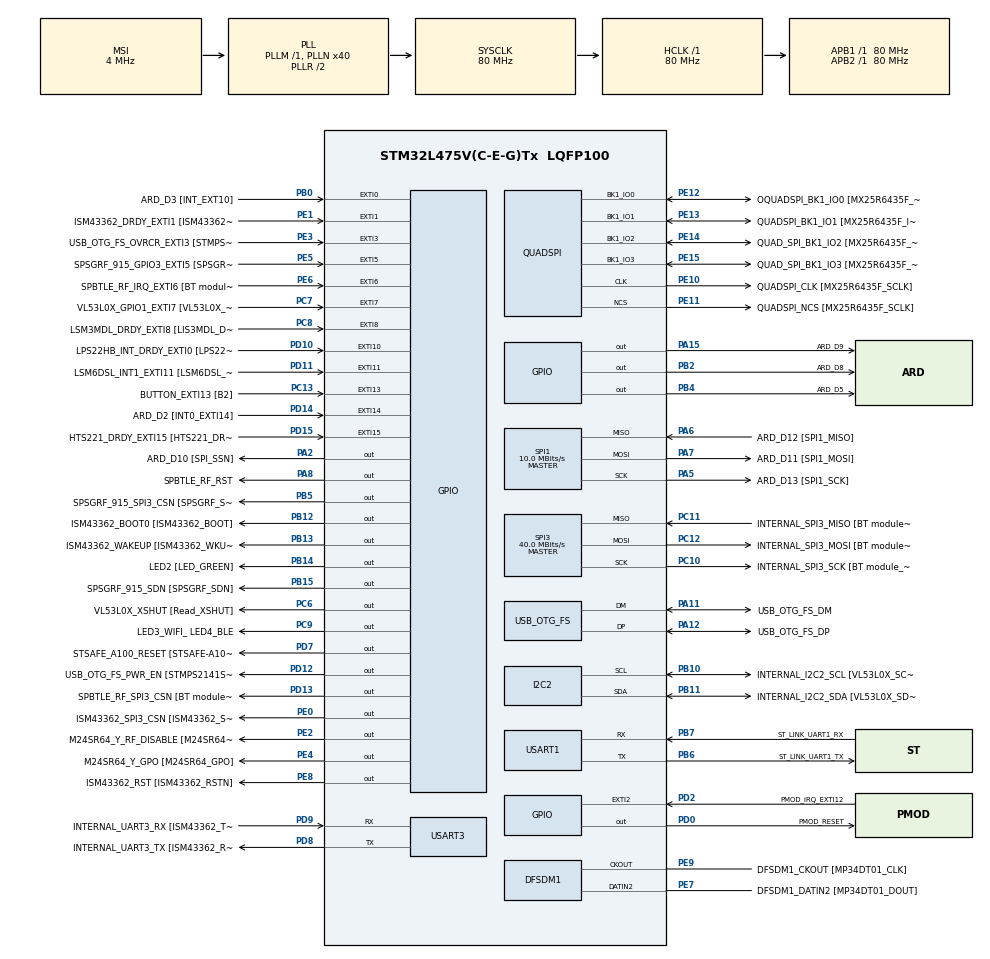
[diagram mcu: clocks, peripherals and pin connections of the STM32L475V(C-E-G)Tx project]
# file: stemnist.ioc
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Mcu.Family=STM32L4
Mcu.Name=STM32L475V(C-E-G)Tx
Mcu.Package=LQFP100
NVIC.EXTI15_10_IRQn=true\:0\:0\:false\:false\:true\:true\:true
NVIC.EXTI9_5_IRQn=true\:0\:0\:false\:false\:true\:true\:true
NVIC.PriorityGroup=NVIC_PRIORITYGROUP_4
PA0.GPIO_Label=ARD_D1 [UART4_TX]
PA0.Signal=UART4_TX
PA1.GPIO_Label=ARD_D0 [UART4_RX]
PA1.Signal=UART4_RX
PA10.GPIO_Label=USB_OTG_FS_ID
PA10.Signal=USB_OTG_FS_ID
PA11.GPIO_Label=USB_OTG_FS_DM
PA11.Mode=Device_Only
PA11.Signal=USB_OTG_FS_DM
PA12.GPIO_Label=USB_OTG_FS_DP
PA12.Mode=Device_Only
PA12.Signal=USB_OTG_FS_DP
PA13\ (JTMS-SWDIO).GPIO_Label=SYS_JTMS_SWDIO
PA13\ (JTMS-SWDIO).Mode=Serial_Wire
PA13\ (JTMS-SWDIO).Signal=SYS_JTMS-SWDIO
PA14\ (JTCK-SWCLK).GPIO_Label=SYS_JTCK_SWCLK
PA14\ (JTCK-SWCLK).Mode=Serial_Wire
PA14\ (JTCK-SWCLK).Signal=SYS_JTCK-SWCLK
PA15\ (JTDI).GPIO_Label=ARD_D9
PA15\ (JTDI).Signal=GPIO_Output
PA2.GPIO_Label=ARD_D10 [SPI_SSN]
PA2.Signal=GPIO_Output
PA3.GPIO_Label=ARD_D4
PA3.Signal=S_TIM2_CH4
PA4.GPIO_Label=ARD_D7
PA4.Signal=ADCx_IN9
PA5.GPIO_Label=ARD_D13 [SPI1_SCK]
PA5.Mode=Full_Duplex_Master
PA5.Signal=SPI1_SCK
PA6.GPIO_Label=ARD_D12 [SPI1_MISO]
PA6.Mode=Full_Duplex_Master
PA6.Signal=SPI1_MISO
PA7.GPIO_Label=ARD_D11 [SPI1_MOSI]
PA7.Mode=Full_Duplex_Master
PA7.Signal=SPI1_MOSI
PA8.GPIO_Label=SPBTLE_RF_RST
PA8.Signal=GPIO_Output
PA9.GPIO_Label=USB_OTG_FS_VBUS [STMPS2141STR_OUT]
PA9.Signal=USB_OTG_FS_VBUS
PB0.GPIO_Label=ARD_D3 [INT_EXT10]
PB0.Signal=GPXTI0
PB1.GPIO_Label=ARD_D6 [ADC1_IN6]
PB1.Signal=ADCx_IN16
PB10.GPIO_Label=INTERNAL_I2C2_SCL [VL53L0X_SCL]
PB10.Mode=I2C
PB10.Signal=I2C2_SCL
PB11.GPIO_Label=INTERNAL_I2C2_SDA [VL53L0X_SDA]
PB11.Mode=I2C
PB11.Signal=I2C2_SDA
PB12.GPIO_Label=ISM43362_BOOT0 [ISM43362_BOOT]
PB12.Signal=GPIO_Output
PB13.GPIO_Label=ISM43362_WAKEUP [ISM43362_WKUP]
PB13.Signal=GPIO_Output
PB14.GPIO_Label=LED2 [LED_GREEN]
PB14.Signal=GPIO_Output
PB15.GPIO_Label=SPSGRF_915_SDN [SPSGRF_SDN]
PB15.Signal=GPIO_Output
PB2.GPIO_Label=ARD_D8
PB2.Signal=GPIO_Output
PB3\ (JTDO-TRACESWO).GPIO_Label=SYS_JTD0_SWO
PB3\ (JTDO-TRACESWO).Signal=SYS_JTDO-SWO
PB4\ (NJTRST).GPIO_Label=ARD_D5
PB4\ (NJTRST).Signal=GPIO_Output
PB5.GPIO_Label=SPSGRF_915_SPI3_CSN [SPSGRF_SPI_CS]
PB5.PinState=GPIO_PIN_SET
PB5.Signal=GPIO_Output
PB6.GPIO_Label=ST_LINK_UART1_TX
PB6.Mode=Asynchronous
PB6.Signal=USART1_TX
PB7.GPIO_Label=ST_LINK_UART1_RX
PB7.Mode=Asynchronous
PB7.Signal=USART1_RX
PB8.GPIO_Label=ARD_D15 [I2C1_SCL]
PB8.Signal=I2C1_SCL
PB9.GPIO_Label=ARD_D14 [I2C1_SDA]
PB9.Signal=I2C1_SDA
PC0.GPIO_Label=ARD_A5 [ADC]
PC0.Signal=ADCx_IN1
PC1.GPIO_Label=ARD_A4 [ADC]
PC1.Signal=ADCx_IN2
PC10.GPIO_Label=INTERNAL_SPI3_SCK [BT module_SPI_SCLK]
PC10.Mode=Full_Duplex_Master
PC10.Signal=SPI3_SCK
PC11.GPIO_Label=INTERNAL_SPI3_MISO [BT module_SPI_MISO]
PC11.Mode=Full_Duplex_Master
PC11.Signal=SPI3_MISO
PC12.GPIO_Label=INTERNAL_SPI3_MOSI [BT module_SPI_MOSI]
PC12.Mode=Full_Duplex_Master
PC12.Signal=SPI3_MOSI
PC13.GPIO_Label=BUTTON_EXTI13 [B2]
PC13.GPIO_ModeDefaultEXTI=GPIO_MODE_IT_FALLING
PC13.Signal=GPXTI13
PC14-OSC32_IN\ (PC14).Mode=LSE-External-Oscillator
PC14-OSC32_IN\ (PC14).Signal=RCC_OSC32_IN
PC15-OSC32_OUT\ (PC15).Mode=LSE-External-Oscillator
PC15-OSC32_OUT\ (PC15).Signal=RCC_OSC32_OUT
PC2.GPIO_Label=ARD_A3 [ADC]
PC2.Signal=ADCx_IN3
PC3.GPIO_Label=ARD_A2 [ADC]
PC3.Signal=ADCx_IN4
PC4.GPIO_Label=ARD_A1 [ADC]
PC4.Signal=ADCx_IN13
PC5.GPIO_Label=ARD_A0 [ADC]
PC5.Signal=ADCx_IN14
PC6.GPIO_Label=VL53L0X_XSHUT [Read_XSHUT]
PC6.Signal=GPIO_Output
PC7.GPIO_Label=VL53L0X_GPIO1_EXTI7 [VL53L0X_GPIO1]
PC7.Signal=GPXTI7
PC8.GPIO_Label=LSM3MDL_DRDY_EXTI8 [LIS3MDL_DRDY]
PC8.Signal=GPXTI8
PC9.GPIO_Label=LED3_WIFI_ LED4_BLE
PC9.Signal=GPIO_Output
PD0.GPIO_Label=PMOD_RESET
PD0.Signal=GPIO_Output
PD1.GPIO_Label=PMOD_SPI2_SCK
PD1.Signal=SPI2_SCK
PD10.GPIO_Label=LPS22HB_INT_DRDY_EXTI0 [LPS22HB_INT_DRDY] 
PD10.Signal=GPXTI10
PD11.GPIO_Label=LSM6DSL_INT1_EXTI11 [LSM6DSL_INT1]
PD11.Signal=GPXTI11
PD12.GPIO_Label=USB_OTG_FS_PWR_EN [STMPS2141STR_EN]
PD12.Signal=GPIO_Output
PD13.GPIO_Label=SPBTLE_RF_SPI3_CSN [BT module_SPI_CS]
PD13.PinState=GPIO_PIN_SET
PD13.Signal=GPIO_Output
PD14.GPIO_Label=ARD_D2 [INT0_EXTI14]
PD14.Signal=GPXTI14
PD15.GPIO_Label=HTS221_DRDY_EXTI15 [HTS221_DRDY]
PD15.Signal=GPXTI15
PD2.GPIO_Label=PMOD_IRQ_EXTI12
PD2.Signal=GPXTI2
PD3.GPIO_Label=PMOD_UART2_CTS
PD3.Signal=USART2_CTS
PD4.GPIO_Label=PMOD_UART2_RTS
PD4.Signal=USART2_RTS
PD5.GPIO_Label=PMOD_UART2_TX
PD5.Signal=USART2_TX
PD6.GPIO_Label=PMOD_UART2_RX
PD6.Signal=USART2_RX
PD7.GPIO_Label=STSAFE_A100_RESET [STSAFE-A100_RESET]
PD7.Signal=GPIO_Output
PD8.GPIO_Label=INTERNAL_UART3_TX [ISM43362_RX]
PD8.Mode=Asynchronous
PD8.Signal=USART3_TX
PD9.GPIO_Label=INTERNAL_UART3_RX [ISM43362_TX]
PD9.Mode=Asynchronous
PD9.Signal=USART3_RX
PE0.GPIO_Label=ISM43362_SPI3_CSN [ISM43362_SSN]
PE0.PinState=GPIO_PIN_SET
PE0.Signal=GPIO_Output
PE1.GPIO_Label=ISM43362_DRDY_EXTI1 [ISM43362_DATARDY]
PE1.Signal=GPXTI1
PE10.GPIO_Label=QUADSPI_CLK [MX25R6435F_SCLK]
PE10.Mode=Single Bank
PE10.Signal=QUADSPI_CLK
PE11.GPIO_Label=QUADSPI_NCS [MX25R6435F_SCLK]
PE11.Mode=Single Bank
PE11.Signal=QUADSPI_NCS
PE12.GPIO_Label=OQUADSPI_BK1_IO0 [MX25R6435F_IO0]
PE12.Mode=Single Bank
PE12.Signal=QUADSPI_BK1_IO0
PE13.GPIO_Label=QUADSPI_BK1_IO1 [MX25R6435F_IO1]
PE13.Mode=Single Bank
PE13.Signal=QUADSPI_BK1_IO1
PE14.GPIO_Label=QUAD_SPI_BK1_IO2 [MX25R6435F_IO2]
PE14.Mode=Single Bank
PE14.Signal=QUADSPI_BK1_IO2
PE15.GPIO_Label=QUAD_SPI_BK1_IO3 [MX25R6435F_IO3]
PE15.Mode=Single Bank
PE15.Signal=QUADSPI_BK1_IO3
PE2.GPIO_Label=M24SR64_Y_RF_DISABLE [M24SR64_RFDIS]
PE2.Signal=GPIO_Output
PE3.GPIO_Label=USB_OTG_FS_OVRCR_EXTI3 [STMPS2141STR_FAULT]
PE3.Signal=GPXTI3
PE4.GPIO_Label=M24SR64_Y_GPO [M24SR64_GPO]
PE4.Signal=GPIO_Output
PE5.GPIO_Label=SPSGRF_915_GPIO3_EXTI5 [SPSGRF_GPIO_3]
PE5.Signal=GPXTI5
PE6.GPIO_Label=SPBTLE_RF_IRQ_EXTI6 [BT module_SPI_IRQ]
PE6.Signal=GPXTI6
PE7.GPIO_Label=DFSDM1_DATIN2 [MP34DT01_DOUT]
PE7.Signal=S_DATAIN2DFSDM1
PE8.GPIO_Label=ISM43362_RST [ISM43362_RSTN]
PE8.Signal=GPIO_Output
PE9.GPIO_Label=DFSDM1_CKOUT [MP34DT01_CLK]
PE9.Signal=S_CKOUTDFSDM1
ProjectManager.HeapSize=0x200
ProjectManager.StackSize=0x400
ProjectManager.TargetToolchain=Makefile
RCC.ADCFreq_Value=48000000
RCC.AHBFreq_Value=80000000
RCC.APB1Freq_Value=80000000
RCC.APB1TimFreq_Value=80000000
RCC.APB2Freq_Value=80000000
RCC.APB2TimFreq_Value=80000000
RCC.CortexFreq_Value=80000000
RCC.HCLKFreq_Value=80000000
RCC.HSE_VALUE=8000000
RCC.HSI_VALUE=16000000
RCC.MSI_VALUE=4000000
RCC.PLLN=40
RCC.PLLSAI1N=24
RCC.SYSCLKFreq_VALUE=80000000
RCC.SYSCLKSource=RCC_SYSCLKSOURCE_PLLCLK
RCC.USBFreq_Value=48000000
RCC.VCOOutputFreq_Value=160000000
SH.ADCx_IN1.0=ADC1_IN1
SH.ADCx_IN13.0=ADC1_IN13
SH.ADCx_IN14.0=ADC1_IN14
SH.ADCx_IN16.0=ADC1_IN16
SH.ADCx_IN2.0=ADC1_IN2
SH.ADCx_IN3.0=ADC1_IN3
SH.ADCx_IN4.0=ADC1_IN4
SH.ADCx_IN9.0=ADC1_IN9
SH.S_CKOUTDFSDM1.0=DFSDM1_CKOUT,CKOUT
SH.S_CKOUTDFSDM1.1=DFSDM1_CKOUT,PDM_SPI_Input_from_ch12_and_Internal_Clock
SH.S_DATAIN2DFSDM1.0=DFSDM1_DATIN2,PDM_SPI_Input_from_ch12_and_Internal_Clock
SH.S_TIM2_CH4.0=TIM2_CH4
SPI1.BaudRatePrescaler=SPI_BAUDRATEPRESCALER_8
SPI1.CalculateBaudRate=10.0 MBits/s
SPI1.DataSize=SPI_DATASIZE_8BIT
SPI1.Direction=SPI_DIRECTION_2LINES
SPI1.Mode=SPI_MODE_MASTER
SPI1.NSSPMode=SPI_NSS_PULSE_DISABLE
SPI1.VirtualType=VM_MASTER
SPI3.CalculateBaudRate=40.0 MBits/s
SPI3.Direction=SPI_DIRECTION_2LINES
SPI3.Mode=SPI_MODE_MASTER
SPI3.VirtualType=VM_MASTER
STMicroelectronics.X-CUBE-AI.3.4.0.ApplicationCcArtificialOoIntelligenceJjApplication=SystemPerformance
STMicroelectronics.X-CUBE-AI.3.4.0.ArtificialOoIntelligenceJjApplication.cmp_version0=3.4.0
STMicroelectronics.X-CUBE-AI.3.4.0.ArtificialOoIntelligenceJjApplication.component0=Artificial Intelligence
STMicroelectronics.X-CUBE-AI.3.4.0.ArtificialOoIntelligenceJjApplication.description0=AI Application,System Performance
STMicroelectronics.X-CUBE-AI.3.4.0.ArtificialOoIntelligenceJjApplication.diagnostic0=This component should operate correctly.
STMicroelectronics.X-CUBE-AI.3.4.0.ArtificialOoIntelligenceJjApplication.documentation0=readme.txt
STMicroelectronics.X-CUBE-AI.3.4.0.ArtificialOoIntelligenceJjApplication.group0=Application
STMicroelectronics.X-CUBE-AI.3.4.0.ArtificialOoIntelligenceJjApplication.paramName0=ApplicationCcArtificialOoIntelligenceJjApplication
STMicroelectronics.X-CUBE-AI.3.4.0.ArtificialOoIntelligenceJjApplication.sevirity0=none
STMicroelectronics.X-CUBE-AI.3.4.0.ArtificialOoIntelligenceJjApplication.variant0=SystemPerformance
STMicroelectronics.X-CUBE-AI.3.4.0.ArtificialOoIntelligenceJjApplication_bundle=Application
STMicroelectronics.X-CUBE-AI.3.4.0.ArtificialOoIntelligenceJjApplication_class=ArtificialOoIntelligence
STMicroelectronics.X-CUBE-AI.3.4.0.ArtificialOoIntelligenceJjApplication_name=X-CUBE-AI
STMicroelectronics.X-CUBE-AI.3.4.0.ArtificialOoIntelligenceJjApplication_size=1
STMicroelectronics.X-CUBE-AI.3.4.0.ArtificialOoIntelligenceJjApplication_vendor=STMicroelectronics
STMicroelectronics.X-CUBE-AI.3.4.0.ArtificialOoIntelligenceJjApplication_version=3.4.0
STMicroelectronics.X-CUBE-AI.3.4.0.ArtificialOoIntelligenceJjXAaCUBEAaAI.cmp_version0=3.4.0
STMicroelectronics.X-CUBE-AI.3.4.0.ArtificialOoIntelligenceJjXAaCUBEAaAI.component0=Artificial Intelligence
STMicroelectronics.X-CUBE-AI.3.4.0.ArtificialOoIntelligenceJjXAaCUBEAaAI.description0=AI Core,Artificial Intelligence for STM32
STMicroelectronics.X-CUBE-AI.3.4.0.ArtificialOoIntelligenceJjXAaCUBEAaAI.diagnostic0=This component should operate correctly.
STMicroelectronics.X-CUBE-AI.3.4.0.ArtificialOoIntelligenceJjXAaCUBEAaAI.documentation0=readme.txt
STMicroelectronics.X-CUBE-AI.3.4.0.ArtificialOoIntelligenceJjXAaCUBEAaAI.group0=Core
STMicroelectronics.X-CUBE-AI.3.4.0.ArtificialOoIntelligenceJjXAaCUBEAaAI.paramName0=XAaCUBEAaAICcArtificialOoIntelligenceJjCore
STMicroelectronics.X-CUBE-AI.3.4.0.ArtificialOoIntelligenceJjXAaCUBEAaAI.sevirity0=none
STMicroelectronics.X-CUBE-AI.3.4.0.ArtificialOoIntelligenceJjXAaCUBEAaAI_bundle=X-CUBE-AI
STMicroelectronics.X-CUBE-AI.3.4.0.ArtificialOoIntelligenceJjXAaCUBEAaAI_class=ArtificialOoIntelligence
STMicroelectronics.X-CUBE-AI.3.4.0.ArtificialOoIntelligenceJjXAaCUBEAaAI_name=X-CUBE-AI
STMicroelectronics.X-CUBE-AI.3.4.0.ArtificialOoIntelligenceJjXAaCUBEAaAI_size=1
STMicroelectronics.X-CUBE-AI.3.4.0.ArtificialOoIntelligenceJjXAaCUBEAaAI_vendor=STMicroelectronics
STMicroelectronics.X-CUBE-AI.3.4.0.ArtificialOoIntelligenceJjXAaCUBEAaAI_version=3.4.0
STMicroelectronics.X-CUBE-AI.3.4.0.ModelActualCompression-6ac971eb13c70106b16ec87ce49207d909afea712f463043403984c6bca58bb8=7.89
STMicroelectronics.X-CUBE-AI.3.4.0.ModelCompression-6ac971eb13c70106b16ec87ce49207d909afea712f463043403984c6bca58bb8=8
STMicroelectronics.X-CUBE-AI.3.4.0.ModelFlashOccupation-6ac971eb13c70106b16ec87ce49207d909afea712f463043403984c6bca58bb8=52750
STMicroelectronics.X-CUBE-AI.3.4.0.ModelHashList=6ac971eb13c70106b16ec87ce49207d909afea712f463043403984c6bca58bb8
STMicroelectronics.X-CUBE-AI.3.4.0.ModelKind-6ac971eb13c70106b16ec87ce49207d909afea712f463043403984c6bca58bb8=KERAS
STMicroelectronics.X-CUBE-AI.3.4.0.ModelMacc-6ac971eb13c70106b16ec87ce49207d909afea712f463043403984c6bca58bb8=107201
STMicroelectronics.X-CUBE-AI.3.4.0.ModelName-6ac971eb13c70106b16ec87ce49207d909afea712f463043403984c6bca58bb8=network
STMicroelectronics.X-CUBE-AI.3.4.0.ModelNameList=network
STMicroelectronics.X-CUBE-AI.3.4.0.ModelRamOccupation-6ac971eb13c70106b16ec87ce49207d909afea712f463043403984c6bca58bb8=3569
STMicroelectronics.X-CUBE-AI.3.4.0.ModelStructureFile-6ac971eb13c70106b16ec87ce49207d909afea712f463043403984c6bca58bb8=models2/bin/modelfc128.h5
STMicroelectronics.X-CUBE-AI.3.4.0.ModelType-6ac971eb13c70106b16ec87ce49207d909afea712f463043403984c6bca58bb8=Model and Topology
STMicroelectronics.X-CUBE-AI.3.4.0.ModelWeightFile-6ac971eb13c70106b16ec87ce49207d909afea712f463043403984c6bca58bb8=models2/bin/modelfc128.yaml
STMicroelectronics.X-CUBE-AI.3.4.0.XAaCUBEAaAICcArtificialOoIntelligenceJjCore=true
STMicroelectronics.X-CUBE-AI.3.4.0_ArtificialOoIntelligenceJjApplication_RteComponent0=\#define AI_SYSTEM_PERFORMANCE
STMicroelectronics.X-CUBE-AI.3.4.0_ArtificialOoIntelligenceJjApplication_RteComponentsize=1
STMicroelectronics.X-CUBE-AI.3.4.0_ArtificialOoIntelligenceJjXAaCUBEAaAI_RteComponentsize=0
STMicroelectronics.X-CUBE-AI.3.4.0_MwName0=X-CUBE-AI
STMicroelectronics.X-CUBE-AI.3.4.0_MwName1=Application
STMicroelectronics.X-CUBE-AI.3.4.0_NumberOfMw=2
STMicroelectronics.X-CUBE-AI.3.4.0_description=Artificial Intelligence
STMicroelectronics.X-CUBE-AI.3.4.0_license=SLA0048.txt
STMicroelectronics.X-CUBE-AI.3.4.0_supportedCore=Cortex-M4;Cortex-M7;
USART1.VirtualMode-Asynchronous=VM_ASYNC
USART3.VirtualMode-Asynchronous=VM_ASYNC
USB_OTG_FS.VirtualMode=Device_Only
VP_CRC_VS_CRC.Mode=CRC_Activate
VP_STMicroelectronics.X-CUBE-AI_VS_ArtificialOoIntelligenceJjXAaCUBEAaAI_3.4.0.Mode=ArtificialOoIntelligenceJjXAaCUBEAaAI
board=B-L475E-IOT01A

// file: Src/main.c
/* USER CODE BEGIN Header */
  int cnt=10;
/**
  ******************************************************************************
  * @file           : main.c
  * @brief          : Main program body
  ******************************************************************************
  * @attention
  *
  * <h2><center>&copy; Copyright (c) 2019 STMicroelectronics.
  * All rights reserved.</center></h2>
  *
  * This software component is licensed by ST under BSD 3-Clause license,
  * the "License"; You may not use this file except in compliance with the
  * License. You may obtain a copy of the License at:
  *                        opensource.org/licenses/BSD-3-Clause
  *
  ******************************************************************************
  */
/* USER CODE END Header */

#include "main.h"
#include "app_x-cube-ai.h"

/* USER CODE BEGIN Includes */
#include <stdio.h>
#include <stdlib.h>
#include <errno.h>
#include "Adafruit/Adafruit_ILI9341.h"
#include "data/testimgs512.h"
#include "data/testlabels512.h"
#include "data/mapping.h"
#include "arm_math.h" // for sqrt32

/* USER CODE END Includes */

/* USER CODE BEGIN PD */
#define AI_BUFFER_NULL(ptr_)  \
 AI_BUFFER_OBJ_INIT( \
   AI_BUFFER_FORMAT_NONE|AI_BUFFER_FMT_FLAG_CONST, \
   0, 0, 0, 0, \
   AI_HANDLE_PTR(ptr_))
/* USER CODE END PD */

CRC_HandleTypeDef hcrc;

DFSDM_Channel_HandleTypeDef hdfsdm1_channel1;

I2C_HandleTypeDef hi2c2;

QSPI_HandleTypeDef hqspi;

SPI_HandleTypeDef hspi1;
SPI_HandleTypeDef hspi3;

UART_HandleTypeDef huart1;
UART_HandleTypeDef huart3;

PCD_HandleTypeDef hpcd_USB_OTG_FS;

/* USER CODE BEGIN PV */
static ai_u8 activations[AI_NETWORK_DATA_ACTIVATIONS_SIZE];
ai_float in_data[AI_NETWORK_IN_1_SIZE];
float out_data[AI_NETWORK_OUT_1_SIZE];
/*static ai_buffer net_in[AI_TESTNN_IN_NUM]  = {AI_MNETWORK_IN_1};*/
/*static ai_buffer net_out[AI_TESTNN_OUT_NUM] = {AI_MNETWORK_OUT_1};*/
/* USER CODE END PV */

void SystemClock_Config(void);
static void MX_GPIO_Init(void);
static void MX_DFSDM1_Init(void);
static void MX_I2C2_Init(void);
static void MX_QUADSPI_Init(void);
static void MX_SPI3_Init(void);
static void MX_USART1_UART_Init(void);
static void MX_USART3_UART_Init(void);
static void MX_USB_OTG_FS_PCD_Init(void);
static void MX_SPI1_Init(void);
static void MX_CRC_Init(void);

/* USER CODE BEGIN 0 */
// Dead simple put string method. Nik Bamert
void putstr(char* s){
  while(*s != 0x00){
    while (HAL_OK != HAL_UART_Transmit(&huart1, (uint8_t*)s, 1, 30000));
    s++;
  }
}
void putcharr(uint8_t c){
    while (HAL_OK != HAL_UART_Transmit(&huart1, &c, 1, 30000));
}
int _write(int fd, char *ptr, int len){
  while(len--){
    while (HAL_OK != HAL_UART_Transmit(&huart1, (uint8_t*)ptr, 1, 30000));
    ptr++;
  }
  return len;
}
void putint(uint16_t v){
  char str[16];
  sprintf(str,"%u",v);
  putstr(str);
}
void putfloat(float v){
  char str[32];
  sprintf(str,"%.3f",v);
  putstr(str);
}
void printTestTest(int idx){
  if(idx>511) return;
  int baseOffset=16+idx*28*28;
  for(int x=0;x<28;x++){
    for(int y=0;y<28;y++){
      unsigned char px =  testimgs512[baseOffset+y*28+x];
      uint16_t col = ILI9341_color565(px,px,px);
      ILI9341_drawPixel(100+28-x,100+y,col);
    }
  }
}
void printImgX2(int idx){
  if(idx>511) return;
  int baseOffset=16+idx*28*28;
  for(int x=0;x<28;x++){
    for(int y=0;y<28;y++){
      unsigned char px =  testimgs512[baseOffset+y*28+x];
      uint16_t col = ILI9341_color565(px,px,px);
      ILI9341_drawPixel(100+56-x*2,100+y*2,col);
      ILI9341_drawPixel(100+56-x*2-1,100+y*2,col);
      ILI9341_drawPixel(100+56-x*2,100+y*2+1,col);
      ILI9341_drawPixel(100+56-x*2-1,100+y*2+1,col);
    }
  }
}
void printLabel(int x, int y, int idx){
  unsigned char label =  classmapping[testlabels512[idx+8]];
  ILI9341_putchar(x, y, label);
}
void printPrediction(int x, int y, int idx){
  unsigned char label =  classmapping[idx];
  ILI9341_putchar(x, y, label);
}
// The following wrappers to call and execute a given network
// where taken from https://github.com/meerstern/STM32F7-DISCO-AI_XOR
/*static struct ai_network_exec_ctx {
   ai_handle network;
   ai_network_report report;
} net_exec_ctx[AI_MNETWORK_NUMBER] = {0};
static int aiBootstrap(const char *nn_name, const int idx)
{
    ai_error err;

    // Creating the network
    printf("Creating the network \"%s\"..\r\n", nn_name);
    err = ai_mnetwork_create(nn_name, &net_exec_ctx[idx].network, NULL);
    if (err.type) {

        printf("ERR:ai_mnetwork_create, %d %d\n\r",err.type,err.code);
        return -1;
    }

    // Query the created network to get relevant info from it
    if (ai_mnetwork_get_info(net_exec_ctx[idx].network, &net_exec_ctx[idx].report)){

    }
    else{
        err = ai_mnetwork_get_error(net_exec_ctx[idx].network);

        printf("ERR:ai_mnetwork_get_info, %d %d \n\r",err.type,err.code);
        ai_mnetwork_destroy(net_exec_ctx[idx].network);
        net_exec_ctx[idx].network = AI_HANDLE_NULL;
        return -2;
    }

    // Initialize the instance
    printf("Initializing the network\r\n");
    // build params structure to provide the reference of the
    //  activation and weight buffers
    const ai_network_params params = {
            AI_BUFFER_NULL(NULL),
            AI_BUFFER_NULL(activations) };

    if (!ai_mnetwork_init(net_exec_ctx[idx].network, &params)) {
        err = ai_mnetwork_get_error(net_exec_ctx[idx].network);

        printf("ERR:ai_mnetwork_init, %d %d\n\r",err.type,err.code);
        ai_mnetwork_destroy(net_exec_ctx[idx].network);
        net_exec_ctx[idx].network = AI_HANDLE_NULL;
        return -4;
    }
    return 0;
}
int aiInit(void)
{
    int res = -1;
    const char *nn_name;
    int idx;

    // Clean all network exec context
   for (idx=0; idx < AI_MNETWORK_NUMBER; idx++) {
        net_exec_ctx[idx].network = AI_HANDLE_NULL;
    }

    // Discover and init the embedded network
	idx = 0;
	do {
		nn_name = ai_mnetwork_find(NULL, idx);
		if (nn_name) {
			printf("\r\nFound network \"%s\"\r\n", nn_name);
			res = aiBootstrap(nn_name, idx);
			if (res)
				nn_name = NULL;
		}
		idx++;
	} while (nn_name);

    return 0;
}
void aiDeinit(void)
{
	ai_error err;
	int idx;

	printf("Releasing the network(s)...\r\n");

	for (idx=0; idx<AI_MNETWORK_NUMBER; idx++) {
		if (net_exec_ctx[idx].network != AI_HANDLE_NULL) {
			if (ai_mnetwork_destroy(net_exec_ctx[idx].network)
					!= AI_HANDLE_NULL) {
				err = ai_mnetwork_get_error(net_exec_ctx[idx].network);
				printf("ERR:ai_mnetwork_destroy, %d %d\n\r",err.type,err.code);
			}
			net_exec_ctx[idx].network = AI_HANDLE_NULL;
		}
	}
}
int aiRun(const int idx, const ai_float *in_data, ai_float *out_data)
{
    ai_i32 nbatch;
    ai_error err;

    // AI buffer handlers
    ai_buffer ai_input[AI_MNETWORK_IN_1_SIZE] ;
    ai_buffer ai_output[AI_MNETWORK_OUT_1_SIZE];

    // Parameters checking
    if (!in_data || !out_data || !net_exec_ctx[idx].network)
        return -1;

    // Initialize input/output buffer handlers
    ai_input[0].n_batches = 1;
    ai_input[0].data = AI_HANDLE_PTR(in_data);
    ai_output[0].n_batches = 1;
    ai_output[0].data = AI_HANDLE_PTR(out_data);

    // Perform the inference
    nbatch = ai_mnetwork_run(net_exec_ctx[idx].network, &ai_input[0], &ai_output[0]);

    if (nbatch != 1) {
        err = ai_mnetwork_get_error(net_exec_ctx[idx].network);
        printf("ERR:ai_mnetwork_get_error, %d %d\n\r",err.type,err.code);
        return -1;
    }

    return 0;
}
int aiInference(int imgIdx){

    aiInit();
    in_data[0]=1.0;
    in_data[1]=0.0;

    // Convert input into float
    int baseOffset=16+imgIdx*28*28;
    for(int i=0;i<28*28;i++){
      in_data[i] = 1.-((ai_float)testimgs512[baseOffset+i])/255.;
    }

    aiRun(0,in_data, out_data);
    ai_float max=0.;
    int idx=0;
    // find maximum output
    for(int i=0;i<47;i++){
     if(out_data[i] > max){
       idx=i;
       max = out_data[i];
     }
    }
    aiDeinit();
    putstr("Max index:");
    putint(idx);
    return idx;
}
*/
uint8_t VectorMaximum(ai_float* vector){
  ai_float max=-100.;
  uint8_t idx=0;

  // find maximum output
  for(int i=0;i<47;i++){
   if(vector[i] > max){
     idx=i;
     max = vector[i];
   }
  }
  return idx;
}
// Taken from exercise 3
void NormalizeVector(uint16_t vectorSize, float* vector){
	float sumtotal = 0.0f;

	for(int i=0;i<vectorSize;i++){
		vector[i] = vector[i]/255.;
	}
}
void fliplr(uint8_t* in, uint8_t* out){
  for (int sRow = 0; sRow < 28 ; sRow++) {
    for (int sCol = 0; sCol < 28; sCol++) {
      uint8_t temp = in[sRow*28+sCol];
      int tRow=sRow;
      int tCol=28-sCol;
      out[tRow*28+tCol]=temp;
    }
  }
}
void rotateImg90(uint8_t* in, uint8_t* out) {
  // Consider all squares one by one
  for (int sRow = 0; sRow < 28 ; sRow++) {
    for (int sCol = 0; sCol < 28; sCol++) {
      uint8_t temp = in[sRow*28+sCol];
      int tCol=sRow;
      int tRow=28-sCol;//rot 90 degrees CCW
      out[tRow*28+tCol]=temp;
    }
  }
}
void transposeImg(uint8_t* in, uint8_t* out){
  for (int sRow = 0; sRow < 28 ; sRow++) {
    for (int sCol = 0; sCol < 28; sCol++) {
      uint8_t temp = in[sRow*28+sCol];
      out[sCol*28+sRow]=temp;
    }
  }

}

/* USER CODE END 0 */

int main(void)
{

  /* MCU Configuration--------------------------------------------------------*/

  /* Reset of all peripherals, Initializes the Flash interface and the Systick. */
  HAL_Init();

  /* Configure the system clock */
  SystemClock_Config();

  /* Initialize all configured peripherals */
  MX_GPIO_Init();
  MX_DFSDM1_Init();
  MX_I2C2_Init();
  MX_QUADSPI_Init();
  MX_SPI3_Init();
  MX_USART1_UART_Init();
  MX_USART3_UART_Init();
  MX_USB_OTG_FS_PCD_Init();
  MX_SPI1_Init();
  MX_CRC_Init();
  MX_X_CUBE_AI_Init();
  /* USER CODE BEGIN 2 */
  ai_handle network_handle;
  const char *nn_name;
  const ai_network_params params = {
            AI_NETWORK_DATA_WEIGHTS(ai_network_data_weights_get()),
            AI_NETWORK_DATA_ACTIVATIONS(activations) };

  ai_mnetwork_create("network", &network_handle, NULL);
	ai_mnetwork_init(network_handle, &params);

  // We do we need to do this?
  // Imho just to turn off the LED before anything is said. not important
	/*net_out[0].data = g_ai_output;*/

  HAL_GPIO_WritePin(GPIOA, GPIO_PIN_2, GPIO_PIN_SET);//disable touchscreen chip
  HAL_GPIO_WritePin(GPIOA, GPIO_PIN_3, GPIO_PIN_SET);//disable sd card
  HAL_GPIO_WritePin(GPIOB, GPIO_PIN_2, GPIO_PIN_SET);//disable lcd
  HAL_GPIO_WritePin(GPIOA, GPIO_PIN_8, GPIO_PIN_RESET);//disable BLE module (could cause interference on touchscreen)
  ILI9341_Init();
  ILI9341_fillRect(0,0,240,320, ILI9341_color565(255,255,255));
  ILI9341_putstr(50,10, "Model: fc128");
  ILI9341_putstr(50,130, "Label");
  ILI9341_putstr(30,130, "Pred.");
  ILI9341_putstr(50,210, "Corr.");
  ILI9341_putstr(30,210, "Wrong");
  int nCorrect=0,nWrong=0;
  int totalTime=0;
  int nImages=512;
  for(int i=0;i<nImages;i++){
  MX_X_CUBE_AI_Process();
    printImgX2(i);
    // Do inference on testdata
    int baseOffset=16+i*28*28;
    uint8_t transposedImg[28*28];
    transposeImg(&testimgs512[baseOffset], transposedImg);
    for(int j=0;j<28*28;j++){
      /*in_data[j] = testimgs512[baseOffset+j]; */
      in_data[j] = transposedImg[j];
    }

    // normalize data
    NormalizeVector(28*28, in_data);//normalize data

    ai_buffer ai_input[AI_NETWORK_IN_1_SIZE] ;
    ai_buffer ai_output[AI_NETWORK_OUT_1_SIZE];

    /* Initialize input/output buffer handlers */
    ai_input[0].n_batches = 1;
    ai_input[0].data = AI_HANDLE_PTR(in_data);
		ai_output[0].data = out_data;
    ai_output[0].n_batches = 1;
    ai_output[0].data = AI_HANDLE_PTR(out_data);

    // Pass data through network
    int start = HAL_GetTick();
    ai_mnetwork_run(network_handle, &ai_input[0], &ai_output[0]);
    int end = HAL_GetTick();
    totalTime+= (end-start);

    // output prediction
    uint8_t pred = VectorMaximum(&ai_output[0].data[0]);
    uint8_t predLabel = classmapping[pred];
    uint8_t label = classmapping[testlabels512[i+8]];
    printLabel(50,190,i);
    printPrediction(30,190,pred);
    ILI9341_putint(50, 260, nCorrect);
    ILI9341_putint(30, 260, nWrong);
    putcharr(label);
    putstr(" ");
    putcharr(predLabel);
    putstr("\n");
    if(predLabel==label)
      nCorrect++;
    else
      nWrong++;

    /*HAL_Delay(1000);*/
  }
  putstr("Correct");
  putint(nCorrect);
  putstr("\nAverage inference time [ms]");
  putint(totalTime/nImages);

  /* USER CODE END 2 */

  /* Infinite loop */
  while (1){

  MX_X_CUBE_AI_Process();
  }
}

void SystemClock_Config(void)
{
  RCC_OscInitTypeDef RCC_OscInitStruct = {0};
  RCC_ClkInitTypeDef RCC_ClkInitStruct = {0};
  RCC_PeriphCLKInitTypeDef PeriphClkInit = {0};

  /** Configure LSE Drive Capability
  */
  HAL_PWR_EnableBkUpAccess();
  __HAL_RCC_LSEDRIVE_CONFIG(RCC_LSEDRIVE_LOW);
  /** Initializes the CPU, AHB and APB busses clocks
  */
  RCC_OscInitStruct.OscillatorType = RCC_OSCILLATORTYPE_LSE|RCC_OSCILLATORTYPE_MSI;
  RCC_OscInitStruct.LSEState = RCC_LSE_ON;
  RCC_OscInitStruct.MSIState = RCC_MSI_ON;
  RCC_OscInitStruct.MSICalibrationValue = 0;
  RCC_OscInitStruct.MSIClockRange = RCC_MSIRANGE_6;
  RCC_OscInitStruct.PLL.PLLState = RCC_PLL_ON;
  RCC_OscInitStruct.PLL.PLLSource = RCC_PLLSOURCE_MSI;
  RCC_OscInitStruct.PLL.PLLM = 1;
  RCC_OscInitStruct.PLL.PLLN = 40;
  RCC_OscInitStruct.PLL.PLLP = RCC_PLLP_DIV7;
  RCC_OscInitStruct.PLL.PLLQ = RCC_PLLQ_DIV2;
  RCC_OscInitStruct.PLL.PLLR = RCC_PLLR_DIV2;
  if (HAL_RCC_OscConfig(&RCC_OscInitStruct) != HAL_OK)
  {
    Error_Handler();
  }
  /** Initializes the CPU, AHB and APB busses clocks
  */
  RCC_ClkInitStruct.ClockType = RCC_CLOCKTYPE_HCLK|RCC_CLOCKTYPE_SYSCLK
                              |RCC_CLOCKTYPE_PCLK1|RCC_CLOCKTYPE_PCLK2;
  RCC_ClkInitStruct.SYSCLKSource = RCC_SYSCLKSOURCE_PLLCLK;
  RCC_ClkInitStruct.AHBCLKDivider = RCC_SYSCLK_DIV1;
  RCC_ClkInitStruct.APB1CLKDivider = RCC_HCLK_DIV1;
  RCC_ClkInitStruct.APB2CLKDivider = RCC_HCLK_DIV1;

  if (HAL_RCC_ClockConfig(&RCC_ClkInitStruct, FLASH_LATENCY_4) != HAL_OK)
  {
    Error_Handler();
  }
  PeriphClkInit.PeriphClockSelection = RCC_PERIPHCLK_USART1|RCC_PERIPHCLK_USART3
                              |RCC_PERIPHCLK_I2C2|RCC_PERIPHCLK_DFSDM1
                              |RCC_PERIPHCLK_USB;
  PeriphClkInit.Usart1ClockSelection = RCC_USART1CLKSOURCE_PCLK2;
  PeriphClkInit.Usart3ClockSelection = RCC_USART3CLKSOURCE_PCLK1;
  PeriphClkInit.I2c2ClockSelection = RCC_I2C2CLKSOURCE_PCLK1;
  PeriphClkInit.Dfsdm1ClockSelection = RCC_DFSDM1CLKSOURCE_PCLK;
  PeriphClkInit.UsbClockSelection = RCC_USBCLKSOURCE_PLLSAI1;
  PeriphClkInit.PLLSAI1.PLLSAI1Source = RCC_PLLSOURCE_MSI;
  PeriphClkInit.PLLSAI1.PLLSAI1M = 1;
  PeriphClkInit.PLLSAI1.PLLSAI1N = 24;
  PeriphClkInit.PLLSAI1.PLLSAI1P = RCC_PLLP_DIV7;
  PeriphClkInit.PLLSAI1.PLLSAI1Q = RCC_PLLQ_DIV2;
  PeriphClkInit.PLLSAI1.PLLSAI1R = RCC_PLLR_DIV2;
  PeriphClkInit.PLLSAI1.PLLSAI1ClockOut = RCC_PLLSAI1_48M2CLK;
  if (HAL_RCCEx_PeriphCLKConfig(&PeriphClkInit) != HAL_OK)
  {
    Error_Handler();
  }
  /** Configure the main internal regulator output voltage
  */
  if (HAL_PWREx_ControlVoltageScaling(PWR_REGULATOR_VOLTAGE_SCALE1) != HAL_OK)
  {
    Error_Handler();
  }
  /** Enable MSI Auto calibration
  */
  HAL_RCCEx_EnableMSIPLLMode();
}

static void MX_CRC_Init(void)
{

  hcrc.Instance = CRC;
  hcrc.Init.DefaultPolynomialUse = DEFAULT_POLYNOMIAL_ENABLE;
  hcrc.Init.DefaultInitValueUse = DEFAULT_INIT_VALUE_ENABLE;
  hcrc.Init.InputDataInversionMode = CRC_INPUTDATA_INVERSION_NONE;
  hcrc.Init.OutputDataInversionMode = CRC_OUTPUTDATA_INVERSION_DISABLE;
  hcrc.InputDataFormat = CRC_INPUTDATA_FORMAT_BYTES;
  if (HAL_CRC_Init(&hcrc) != HAL_OK)
  {
    Error_Handler();
  }

}

static void MX_DFSDM1_Init(void)
{

  hdfsdm1_channel1.Instance = DFSDM1_Channel1;
  hdfsdm1_channel1.Init.OutputClock.Activation = ENABLE;
  hdfsdm1_channel1.Init.OutputClock.Selection = DFSDM_CHANNEL_OUTPUT_CLOCK_SYSTEM;
  hdfsdm1_channel1.Init.OutputClock.Divider = 2;
  hdfsdm1_channel1.Init.Input.Multiplexer = DFSDM_CHANNEL_EXTERNAL_INPUTS;
  hdfsdm1_channel1.Init.Input.DataPacking = DFSDM_CHANNEL_STANDARD_MODE;
  hdfsdm1_channel1.Init.Input.Pins = DFSDM_CHANNEL_FOLLOWING_CHANNEL_PINS;
  hdfsdm1_channel1.Init.SerialInterface.Type = DFSDM_CHANNEL_SPI_RISING;
  hdfsdm1_channel1.Init.SerialInterface.SpiClock = DFSDM_CHANNEL_SPI_CLOCK_INTERNAL;
  hdfsdm1_channel1.Init.Awd.FilterOrder = DFSDM_CHANNEL_FASTSINC_ORDER;
  hdfsdm1_channel1.Init.Awd.Oversampling = 1;
  hdfsdm1_channel1.Init.Offset = 0;
  hdfsdm1_channel1.Init.RightBitShift = 0x00;
  if (HAL_DFSDM_ChannelInit(&hdfsdm1_channel1) != HAL_OK)
  {
    Error_Handler();
  }

}

static void MX_I2C2_Init(void)
{

  hi2c2.Instance = I2C2;
  hi2c2.Init.Timing = 0x10909CEC;
  hi2c2.Init.OwnAddress1 = 0;
  hi2c2.Init.AddressingMode = I2C_ADDRESSINGMODE_7BIT;
  hi2c2.Init.DualAddressMode = I2C_DUALADDRESS_DISABLE;
  hi2c2.Init.OwnAddress2 = 0;
  hi2c2.Init.OwnAddress2Masks = I2C_OA2_NOMASK;
  hi2c2.Init.GeneralCallMode = I2C_GENERALCALL_DISABLE;
  hi2c2.Init.NoStretchMode = I2C_NOSTRETCH_DISABLE;
  if (HAL_I2C_Init(&hi2c2) != HAL_OK)
  {
    Error_Handler();
  }
  /** Configure Analogue filter
  */
  if (HAL_I2CEx_ConfigAnalogFilter(&hi2c2, I2C_ANALOGFILTER_ENABLE) != HAL_OK)
  {
    Error_Handler();
  }
  /** Configure Digital filter
  */
  if (HAL_I2CEx_ConfigDigitalFilter(&hi2c2, 0) != HAL_OK)
  {
    Error_Handler();
  }

}

static void MX_QUADSPI_Init(void)
{

  /* QUADSPI parameter configuration*/
  hqspi.Instance = QUADSPI;
  hqspi.Init.ClockPrescaler = 255;
  hqspi.Init.FifoThreshold = 1;
  hqspi.Init.SampleShifting = QSPI_SAMPLE_SHIFTING_NONE;
  hqspi.Init.FlashSize = 1;
  hqspi.Init.ChipSelectHighTime = QSPI_CS_HIGH_TIME_1_CYCLE;
  hqspi.Init.ClockMode = QSPI_CLOCK_MODE_0;
  if (HAL_QSPI_Init(&hqspi) != HAL_OK)
  {
    Error_Handler();
  }

}

static void MX_SPI1_Init(void)
{

  /* SPI1 parameter configuration*/
  hspi1.Instance = SPI1;
  hspi1.Init.Mode = SPI_MODE_MASTER;
  hspi1.Init.Direction = SPI_DIRECTION_2LINES;
  hspi1.Init.DataSize = SPI_DATASIZE_8BIT;
  hspi1.Init.CLKPolarity = SPI_POLARITY_LOW;
  hspi1.Init.CLKPhase = SPI_PHASE_1EDGE;
  hspi1.Init.NSS = SPI_NSS_SOFT;
  hspi1.Init.BaudRatePrescaler = SPI_BAUDRATEPRESCALER_8;
  hspi1.Init.FirstBit = SPI_FIRSTBIT_MSB;
  hspi1.Init.TIMode = SPI_TIMODE_DISABLE;
  hspi1.Init.CRCCalculation = SPI_CRCCALCULATION_DISABLE;
  hspi1.Init.CRCPolynomial = 7;
  hspi1.Init.CRCLength = SPI_CRC_LENGTH_DATASIZE;
  hspi1.Init.NSSPMode = SPI_NSS_PULSE_DISABLE;
  if (HAL_SPI_Init(&hspi1) != HAL_OK)
  {
    Error_Handler();
  }

}

static void MX_SPI3_Init(void)
{

  /* SPI3 parameter configuration*/
  hspi3.Instance = SPI3;
  hspi3.Init.Mode = SPI_MODE_MASTER;
  hspi3.Init.Direction = SPI_DIRECTION_2LINES;
  hspi3.Init.DataSize = SPI_DATASIZE_4BIT;
  hspi3.Init.CLKPolarity = SPI_POLARITY_LOW;
  hspi3.Init.CLKPhase = SPI_PHASE_1EDGE;
  hspi3.Init.NSS = SPI_NSS_SOFT;
  hspi3.Init.BaudRatePrescaler = SPI_BAUDRATEPRESCALER_2;
  hspi3.Init.FirstBit = SPI_FIRSTBIT_MSB;
  hspi3.Init.TIMode = SPI_TIMODE_DISABLE;
  hspi3.Init.CRCCalculation = SPI_CRCCALCULATION_DISABLE;
  hspi3.Init.CRCPolynomial = 7;
  hspi3.Init.CRCLength = SPI_CRC_LENGTH_DATASIZE;
  hspi3.Init.NSSPMode = SPI_NSS_PULSE_ENABLE;
  if (HAL_SPI_Init(&hspi3) != HAL_OK)
  {
    Error_Handler();
  }

}

static void MX_USART1_UART_Init(void)
{

  huart1.Instance = USART1;
  huart1.Init.BaudRate = 115200;
  huart1.Init.WordLength = UART_WORDLENGTH_8B;
  huart1.Init.StopBits = UART_STOPBITS_1;
  huart1.Init.Parity = UART_PARITY_NONE;
  huart1.Init.Mode = UART_MODE_TX_RX;
  huart1.Init.HwFlowCtl = UART_HWCONTROL_NONE;
  huart1.Init.OverSampling = UART_OVERSAMPLING_16;
  huart1.Init.OneBitSampling = UART_ONE_BIT_SAMPLE_DISABLE;
  huart1.AdvancedInit.AdvFeatureInit = UART_ADVFEATURE_NO_INIT;
  if (HAL_UART_Init(&huart1) != HAL_OK)
  {
    Error_Handler();
  }

}

static void MX_USART3_UART_Init(void)
{

  huart3.Instance = USART3;
  huart3.Init.BaudRate = 115200;
  huart3.Init.WordLength = UART_WORDLENGTH_8B;
  huart3.Init.StopBits = UART_STOPBITS_1;
  huart3.Init.Parity = UART_PARITY_NONE;
  huart3.Init.Mode = UART_MODE_TX_RX;
  huart3.Init.HwFlowCtl = UART_HWCONTROL_NONE;
  huart3.Init.OverSampling = UART_OVERSAMPLING_16;
  huart3.Init.OneBitSampling = UART_ONE_BIT_SAMPLE_DISABLE;
  huart3.AdvancedInit.AdvFeatureInit = UART_ADVFEATURE_NO_INIT;
  if (HAL_UART_Init(&huart3) != HAL_OK)
  {
    Error_Handler();
  }

}

static void MX_USB_OTG_FS_PCD_Init(void)
{

  hpcd_USB_OTG_FS.Instance = USB_OTG_FS;
  hpcd_USB_OTG_FS.Init.dev_endpoints = 6;
  hpcd_USB_OTG_FS.Init.speed = PCD_SPEED_FULL;
  hpcd_USB_OTG_FS.Init.phy_itface = PCD_PHY_EMBEDDED;
  hpcd_USB_OTG_FS.Init.Sof_enable = DISABLE;
  hpcd_USB_OTG_FS.Init.low_power_enable = DISABLE;
  hpcd_USB_OTG_FS.Init.lpm_enable = DISABLE;
  hpcd_USB_OTG_FS.Init.battery_charging_enable = DISABLE;
  hpcd_USB_OTG_FS.Init.use_dedicated_ep1 = DISABLE;
  hpcd_USB_OTG_FS.Init.vbus_sensing_enable = DISABLE;
  if (HAL_PCD_Init(&hpcd_USB_OTG_FS) != HAL_OK)
  {
    Error_Handler();
  }

}

static void MX_GPIO_Init(void)
{
  GPIO_InitTypeDef GPIO_InitStruct = {0};

  /* GPIO Ports Clock Enable */
  __HAL_RCC_GPIOE_CLK_ENABLE();
  __HAL_RCC_GPIOC_CLK_ENABLE();
  __HAL_RCC_GPIOA_CLK_ENABLE();
  __HAL_RCC_GPIOB_CLK_ENABLE();
  __HAL_RCC_GPIOD_CLK_ENABLE();

  /*Configure GPIO pin Output Level */
  HAL_GPIO_WritePin(GPIOE, M24SR64_Y_RF_DISABLE_Pin|M24SR64_Y_GPO_Pin|ISM43362_RST_Pin, GPIO_PIN_RESET);

  /*Configure GPIO pin Output Level */
  HAL_GPIO_WritePin(GPIOA, ARD_D10_Pin|SPBTLE_RF_RST_Pin|ARD_D9_Pin, GPIO_PIN_RESET);

  /*Configure GPIO pin Output Level */
  HAL_GPIO_WritePin(GPIOB, ARD_D8_Pin|ISM43362_BOOT0_Pin|ISM43362_WAKEUP_Pin|LED2_Pin
                          |SPSGRF_915_SDN_Pin|ARD_D5_Pin, GPIO_PIN_RESET);

  /*Configure GPIO pin Output Level */
  HAL_GPIO_WritePin(GPIOD, USB_OTG_FS_PWR_EN_Pin|PMOD_RESET_Pin|STSAFE_A100_RESET_Pin, GPIO_PIN_RESET);

  /*Configure GPIO pin Output Level */
  HAL_GPIO_WritePin(SPBTLE_RF_SPI3_CSN_GPIO_Port, SPBTLE_RF_SPI3_CSN_Pin, GPIO_PIN_SET);

  /*Configure GPIO pin Output Level */
  HAL_GPIO_WritePin(GPIOC, VL53L0X_XSHUT_Pin|LED3_WIFI__LED4_BLE_Pin, GPIO_PIN_RESET);

  /*Configure GPIO pin Output Level */
  HAL_GPIO_WritePin(SPSGRF_915_SPI3_CSN_GPIO_Port, SPSGRF_915_SPI3_CSN_Pin, GPIO_PIN_SET);

  /*Configure GPIO pin Output Level */
  HAL_GPIO_WritePin(ISM43362_SPI3_CSN_GPIO_Port, ISM43362_SPI3_CSN_Pin, GPIO_PIN_SET);

  /*Configure GPIO pins : M24SR64_Y_RF_DISABLE_Pin M24SR64_Y_GPO_Pin ISM43362_RST_Pin ISM43362_SPI3_CSN_Pin */
  GPIO_InitStruct.Pin = M24SR64_Y_RF_DISABLE_Pin|M24SR64_Y_GPO_Pin|ISM43362_RST_Pin|ISM43362_SPI3_CSN_Pin;
  GPIO_InitStruct.Mode = GPIO_MODE_OUTPUT_PP;
  GPIO_InitStruct.Pull = GPIO_NOPULL;
  GPIO_InitStruct.Speed = GPIO_SPEED_FREQ_LOW;
  HAL_GPIO_Init(GPIOE, &GPIO_InitStruct);

  /*Configure GPIO pins : USB_OTG_FS_OVRCR_EXTI3_Pin SPSGRF_915_GPIO3_EXTI5_Pin SPBTLE_RF_IRQ_EXTI6_Pin ISM43362_DRDY_EXTI1_Pin */
  GPIO_InitStruct.Pin = USB_OTG_FS_OVRCR_EXTI3_Pin|SPSGRF_915_GPIO3_EXTI5_Pin|SPBTLE_RF_IRQ_EXTI6_Pin|ISM43362_DRDY_EXTI1_Pin;
  GPIO_InitStruct.Mode = GPIO_MODE_IT_RISING;
  GPIO_InitStruct.Pull = GPIO_NOPULL;
  HAL_GPIO_Init(GPIOE, &GPIO_InitStruct);

  /*Configure GPIO pin : BUTTON_EXTI13_Pin */
  GPIO_InitStruct.Pin = BUTTON_EXTI13_Pin;
  GPIO_InitStruct.Mode = GPIO_MODE_IT_FALLING;
  GPIO_InitStruct.Pull = GPIO_NOPULL;
  HAL_GPIO_Init(BUTTON_EXTI13_GPIO_Port, &GPIO_InitStruct);

  /*Configure GPIO pins : ARD_A5_Pin ARD_A4_Pin ARD_A3_Pin ARD_A2_Pin
                           ARD_A1_Pin ARD_A0_Pin */
  GPIO_InitStruct.Pin = ARD_A5_Pin|ARD_A4_Pin|ARD_A3_Pin|ARD_A2_Pin
                          |ARD_A1_Pin|ARD_A0_Pin;
  GPIO_InitStruct.Mode = GPIO_MODE_ANALOG_ADC_CONTROL;
  GPIO_InitStruct.Pull = GPIO_NOPULL;
  HAL_GPIO_Init(GPIOC, &GPIO_InitStruct);

  /*Configure GPIO pins : ARD_D1_Pin ARD_D0_Pin */
  GPIO_InitStruct.Pin = ARD_D1_Pin|ARD_D0_Pin;
  GPIO_InitStruct.Mode = GPIO_MODE_AF_PP;
  GPIO_InitStruct.Pull = GPIO_NOPULL;
  GPIO_InitStruct.Speed = GPIO_SPEED_FREQ_VERY_HIGH;
  GPIO_InitStruct.Alternate = GPIO_AF8_UART4;
  HAL_GPIO_Init(GPIOA, &GPIO_InitStruct);

  /*Configure GPIO pins : ARD_D10_Pin SPBTLE_RF_RST_Pin ARD_D9_Pin */
  GPIO_InitStruct.Pin = ARD_D10_Pin|SPBTLE_RF_RST_Pin|ARD_D9_Pin;
  GPIO_InitStruct.Mode = GPIO_MODE_OUTPUT_PP;
  GPIO_InitStruct.Pull = GPIO_NOPULL;
  GPIO_InitStruct.Speed = GPIO_SPEED_FREQ_LOW;
  HAL_GPIO_Init(GPIOA, &GPIO_InitStruct);

  /*Configure GPIO pin : ARD_D4_Pin */
  GPIO_InitStruct.Pin = ARD_D4_Pin;
  GPIO_InitStruct.Mode = GPIO_MODE_AF_PP;
  GPIO_InitStruct.Pull = GPIO_NOPULL;
  GPIO_InitStruct.Speed = GPIO_SPEED_FREQ_HIGH;
  /*GPIO_InitStruct.Alternate = GPIO_SPEED_FREQ_HIGH;*/
  HAL_GPIO_Init(ARD_D4_GPIO_Port, &GPIO_InitStruct);

  /*Configure GPIO pin : ARD_D7_Pin */
  GPIO_InitStruct.Pin = ARD_D7_Pin;
  GPIO_InitStruct.Mode = GPIO_MODE_ANALOG_ADC_CONTROL;
  GPIO_InitStruct.Pull = GPIO_NOPULL;
  HAL_GPIO_Init(ARD_D7_GPIO_Port, &GPIO_InitStruct);

  /*Configure GPIO pin : ARD_D3_Pin */
  GPIO_InitStruct.Pin = ARD_D3_Pin;
  GPIO_InitStruct.Mode = GPIO_MODE_IT_RISING;
  GPIO_InitStruct.Pull = GPIO_NOPULL;
  HAL_GPIO_Init(ARD_D3_GPIO_Port, &GPIO_InitStruct);

  /*Configure GPIO pin : ARD_D6_Pin */
  GPIO_InitStruct.Pin = ARD_D6_Pin;
  GPIO_InitStruct.Mode = GPIO_MODE_ANALOG_ADC_CONTROL;
  GPIO_InitStruct.Pull = GPIO_NOPULL;
  HAL_GPIO_Init(ARD_D6_GPIO_Port, &GPIO_InitStruct);

  /*Configure GPIO pins : ARD_D8_Pin ISM43362_BOOT0_Pin ISM43362_WAKEUP_Pin LED2_Pin
                           SPSGRF_915_SDN_Pin ARD_D5_Pin SPSGRF_915_SPI3_CSN_Pin */
  GPIO_InitStruct.Pin = ARD_D8_Pin|ISM43362_BOOT0_Pin|ISM43362_WAKEUP_Pin|LED2_Pin
                          |SPSGRF_915_SDN_Pin|ARD_D5_Pin|SPSGRF_915_SPI3_CSN_Pin;
  GPIO_InitStruct.Mode = GPIO_MODE_OUTPUT_PP;
  GPIO_InitStruct.Pull = GPIO_NOPULL;
  GPIO_InitStruct.Speed = GPIO_SPEED_FREQ_LOW;
  HAL_GPIO_Init(GPIOB, &GPIO_InitStruct);

  /*Configure GPIO pins : LPS22HB_INT_DRDY_EXTI0_Pin LSM6DSL_INT1_EXTI11_Pin ARD_D2_Pin HTS221_DRDY_EXTI15_Pin
                           PMOD_IRQ_EXTI12_Pin */
  GPIO_InitStruct.Pin = LPS22HB_INT_DRDY_EXTI0_Pin|LSM6DSL_INT1_EXTI11_Pin|ARD_D2_Pin|HTS221_DRDY_EXTI15_Pin
                          |PMOD_IRQ_EXTI12_Pin;
  GPIO_InitStruct.Mode = GPIO_MODE_IT_RISING;
  GPIO_InitStruct.Pull = GPIO_NOPULL;
  HAL_GPIO_Init(GPIOD, &GPIO_InitStruct);

  /*Configure GPIO pins : USB_OTG_FS_PWR_EN_Pin SPBTLE_RF_SPI3_CSN_Pin PMOD_RESET_Pin STSAFE_A100_RESET_Pin */
  GPIO_InitStruct.Pin = USB_OTG_FS_PWR_EN_Pin|SPBTLE_RF_SPI3_CSN_Pin|PMOD_RESET_Pin|STSAFE_A100_RESET_Pin;
  GPIO_InitStruct.Mode = GPIO_MODE_OUTPUT_PP;
  GPIO_InitStruct.Pull = GPIO_NOPULL;
  GPIO_InitStruct.Speed = GPIO_SPEED_FREQ_LOW;
  HAL_GPIO_Init(GPIOD, &GPIO_InitStruct);

  /*Configure GPIO pins : VL53L0X_XSHUT_Pin LED3_WIFI__LED4_BLE_Pin */
  GPIO_InitStruct.Pin = VL53L0X_XSHUT_Pin|LED3_WIFI__LED4_BLE_Pin;
  GPIO_InitStruct.Mode = GPIO_MODE_OUTPUT_PP;
  GPIO_InitStruct.Pull = GPIO_NOPULL;
  GPIO_InitStruct.Speed = GPIO_SPEED_FREQ_LOW;
  HAL_GPIO_Init(GPIOC, &GPIO_InitStruct);

  /*Configure GPIO pins : VL53L0X_GPIO1_EXTI7_Pin LSM3MDL_DRDY_EXTI8_Pin */
  GPIO_InitStruct.Pin = VL53L0X_GPIO1_EXTI7_Pin|LSM3MDL_DRDY_EXTI8_Pin;
  GPIO_InitStruct.Mode = GPIO_MODE_IT_RISING;
  GPIO_InitStruct.Pull = GPIO_NOPULL;
  HAL_GPIO_Init(GPIOC, &GPIO_InitStruct);

  /*Configure GPIO pin : PMOD_SPI2_SCK_Pin */
  GPIO_InitStruct.Pin = PMOD_SPI2_SCK_Pin;
  GPIO_InitStruct.Mode = GPIO_MODE_AF_PP;
  GPIO_InitStruct.Pull = GPIO_NOPULL;
  GPIO_InitStruct.Speed = GPIO_SPEED_FREQ_VERY_HIGH;
  GPIO_InitStruct.Alternate = GPIO_AF5_SPI2;
  HAL_GPIO_Init(PMOD_SPI2_SCK_GPIO_Port, &GPIO_InitStruct);

  // SPI1 MOSI pullup
  GPIO_InitStruct.Pin = GPIO_PIN_12;
  GPIO_InitStruct.Mode = GPIO_MODE_AF_PP;
  GPIO_InitStruct.Pull = GPIO_PULLUP;
  GPIO_InitStruct.Speed = GPIO_SPEED_FREQ_VERY_HIGH;
  GPIO_InitStruct.Alternate = GPIO_AF5_SPI1;
  HAL_GPIO_Init(GPIOA, &GPIO_InitStruct);

  /*Configure GPIO pins : PMOD_UART2_CTS_Pin PMOD_UART2_RTS_Pin PMOD_UART2_TX_Pin PMOD_UART2_RX_Pin */
  GPIO_InitStruct.Pin = PMOD_UART2_CTS_Pin|PMOD_UART2_RTS_Pin|PMOD_UART2_TX_Pin|PMOD_UART2_RX_Pin;
  GPIO_InitStruct.Mode = GPIO_MODE_AF_PP;
  GPIO_InitStruct.Pull = GPIO_NOPULL;
  GPIO_InitStruct.Speed = GPIO_SPEED_FREQ_VERY_HIGH;
  GPIO_InitStruct.Alternate = GPIO_AF7_USART2;
  HAL_GPIO_Init(GPIOD, &GPIO_InitStruct);

  /*Configure GPIO pins : ARD_D15_Pin ARD_D14_Pin */
  GPIO_InitStruct.Pin = ARD_D15_Pin|ARD_D14_Pin;
  GPIO_InitStruct.Mode = GPIO_MODE_AF_OD;
  GPIO_InitStruct.Pull = GPIO_PULLUP;
  GPIO_InitStruct.Speed = GPIO_SPEED_FREQ_VERY_HIGH;
  GPIO_InitStruct.Alternate = GPIO_AF4_I2C1;
  HAL_GPIO_Init(GPIOB, &GPIO_InitStruct);

  /* EXTI interrupt init*/
  HAL_NVIC_SetPriority(EXTI9_5_IRQn, 0, 0);
  HAL_NVIC_EnableIRQ(EXTI9_5_IRQn);

  HAL_NVIC_SetPriority(EXTI15_10_IRQn, 0, 0);
  HAL_NVIC_EnableIRQ(EXTI15_10_IRQn);

}

void Error_Handler(void)
{
}

/************************ (C) COPYRIGHT STMicroelectronics *****END OF FILE****/
